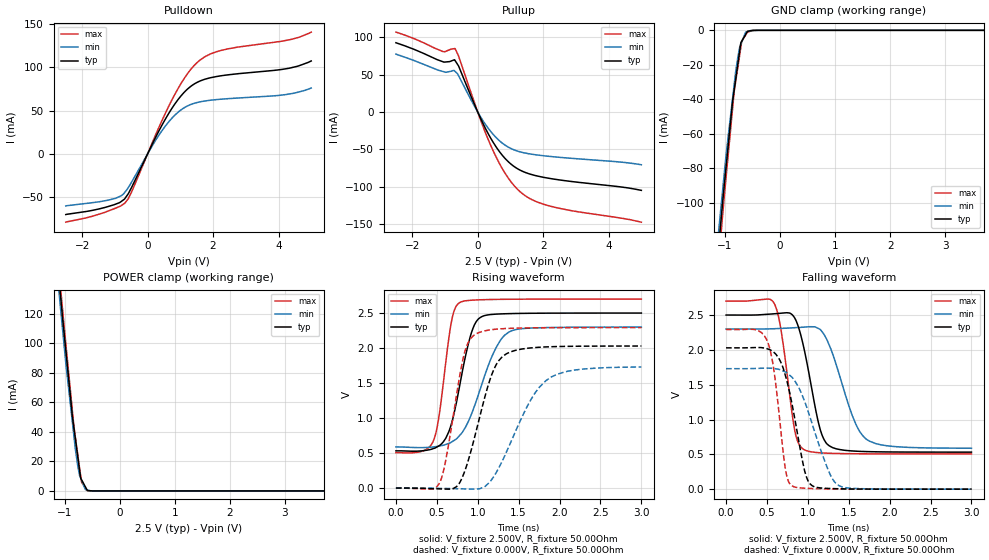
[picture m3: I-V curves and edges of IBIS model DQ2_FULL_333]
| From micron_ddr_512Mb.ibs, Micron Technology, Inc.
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|   MODEL DQ2_FULL_333
[Model]   DQ2_FULL_333
Model_type   I/O
Vinl = 0.940V
Vinh = 1.560V
Vmeas = 1.250V
Vref = 1.250V
Cref = 30.000pF
Rref = 50.000Ohm
|   typ   min   max
C_comp   3.30pF   3.15pF   3.45pF
[Model Spec]
| Input threshold voltage corners
Vinh   1.560V   1.460V   1.660V
Vinl   0.940V   0.840V   1.040V
| Measurement voltage corners
Vmeas   1.250V   1.150V   1.350V
| Timing spec test load voltage corners
Vref   1.250V   1.150V   1.350V
| Overshoot/Undershoot
S_overshoot_high   2.800V   2.600V   3.000V
S_overshoot_low   -0.300V   -0.300V   -0.300V
D_overshoot_high   4.000V   3.800V   4.200V
D_overshoot_low   -1.500V   -1.500V   -1.500V
D_overshoot_time   2.000n   2.000n   2.000n
[Receiver Thresholds]
Vth   =  1.250V
Vth_min  =  1.225V
Vth_max  =  1.275V
Vinh_ac  =  0.310V
Vinh_dc  =  0.150V
Vinl_ac  = -0.310V
Vinl_dc  = -0.150V
Tslew_ac =  10.000ns |Not specified, so set to high value
Threshold_sensitivity = 0.50
Reference_supply Pullup_ref
[Voltage Range]   2.500V   2.300V   2.700V
[Pullup Reference]   2.500V   2.300V   2.700V
| Junction Temperature (Ambient temp is 25C typ, 70C min, 0C max)
[Temperature Range]   40.0   85.0   0.0
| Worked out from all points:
|   slope of the pulldown table from 0 to 0.375 V, typ, clamps not added: 13.1 ohm
|   slope of the pullup table from 0 to 0.375 V, typ, clamps not added: 11.2 ohm
|   GND clamp passes 1 mA (typ) near -0.59 V on its own axis
|   POWER clamp passes 1 mA (typ) near -0.60 V on its own axis
|   falling waveform, V_fixture 2.500V, R_fixture 50.00Ohm: 20-80 % time 200ps typ, 290ps min, 150ps max; typ from 2.5 V to 0.532 V
|   rising waveform, V_fixture 2.500V, R_fixture 50.00Ohm: 20-80 % time 215ps typ, 328ps min, 147ps max; typ from 0.532 V to 2.5 V
|   rising waveform, V_fixture 0.000V, R_fixture 50.00Ohm: 20-80 % time 285ps typ, 433ps min, 199ps max; typ from 0 V to 2.03 V
|   falling waveform, V_fixture 0.000V, R_fixture 50.00Ohm: 20-80 % time 207ps typ, 306ps min, 138ps max; typ from 2.03 V to 0 V
[Pulldown]
|   Voltage   I(typ)   I(min)   I(max)
-2.5V     -70.06mA   -60.1mA    -78.85mA
-1.21V    -60.83mA   -53.49mA   -66.03mA
-805mV    -54.91mA   -48.27mA   -59.71mA
-695mV    -51.59mA   -44.3mA    -56.87mA
-500mV    -39.47mA   -33.24mA   -44.76mA
250mV     19.49mA    15.98mA    22.4mA
665mV     47.89mA    37.87mA    56.41mA
1.16V     72.67mA    54.16mA    89.34mA
1.615V    84.3mA     60.15mA    108.6mA
2.27V     90.27mA    63.18mA    119.6mA
4.11V     97.49mA    67.93mA    130.1mA
5V        107.2mA    75.98mA    140.6mA
[GND Clamp]
|   Voltage   I(typ)   I(min)   I(max)
-2.5V     -661.2mA   -627.1mA   -696.6mA
-1.205V   -159.1mA   -147.3mA   -170.8mA
-1.07V    -110.7mA   -102.9mA   -118.6mA
-1.035V   -98.16mA   -91.42mA   -105.7mA
-855mV    -40.39mA   -38.54mA   -44.11mA
-830mV    -34.71mA   -31.62mA   -35.65mA
-765mV    -19.96mA   -16.05mA   -21.77mA
-710mV    -7.472mA   -8.112mA   -10.08mA
-690mV    -6.165mA   -6.517mA   -6.214mA
-620mV    -2.37mA    -1.048mA   -2.615mA
-415mV    -9.562uA   -4.287uA   -6.441uA
5V        0A         0A         0A
[Pullup]
|   Voltage   I(typ)   I(min)   I(max)
-2.5V     92.94mA    77.63mA    107.2mA
-1.07V    67.53mA    54.44mA    81.18mA
-690mV    68.87mA    54.31mA    84.98mA
-585mV    61.69mA    48.61mA    74.91mA
105mV     -10.19mA   -7.775mA   -12.74mA
475mV     -40.85mA   -30.08mA   -52.33mA
675mV     -53.77mA   -38.97mA   -69.96mA
930mV     -66.44mA   -46.98mA   -88.4mA
1.375V    -79.61mA   -54.29mA   -109.8mA
1.775V    -85.33mA   -57.36mA   -119.8mA
2.36V     -90.15mA   -60.18mA   -127.8mA
5V        -105mA     -70.7mA    -147.7mA
[POWER Clamp]
|   Voltage   I(typ)   I(min)   I(max)
-2.5V     748.6mA    726.1mA    769.2mA
-1.205V   185.8mA    175.1mA    193.5mA
-1.07V    131mA      122.6mA    136.6mA
-1.035V   116.8mA    109mA      122.3mA
-975mV    94.3mA     85.72mA    98.88mA
-860mV    51.26mA    47.19mA    55.01mA
-830mV    42.66mA    37.13mA    43.56mA
-765mV    24.5mA     18.28mA    25.83mA
-710mV    9.133mA    8.87mA     10.87mA
-690mV    7.477mA    7.067mA    5.934mA
-590mV    551.3uA    607.6uA    210.5uA
5V        0A         0A         0A
[Ramp]
R_load = 50.00Ohm
|   typ   min   max
dV/dt_r   1.217V/285.346ps   1.038V/433.234ps   1.375V/199.200ps
dV/dt_f   1.181V/199.846ps   1.027V/289.804ps   1.317V/149.752ps
[Falling Waveform]
V_fixture = 2.500V
V_fixture_min = 2.300V
V_fixture_max = 2.700V
R_fixture = 50.00Ohm
|   Time   V(typ)   V(min)   V(max)
0s        2.5V       2.3V       2.7V
590ps     2.518V     2.303V     2.663V
670ps     2.526V     2.308V     2.298V
840ps     2.456V     2.318V     842.1mV
950ps     2.034V     2.326V     569.5mV
1.15ns    859.9mV    2.293V     522mV
1.26ns    623.7mV    2.071V     515.4mV
1.54ns    548.5mV    1.065V     509mV
1.72ns    539.3mV    712.9mV    507.4mV
3ns       531.5mV    587.4mV    505.6mV
[Rising Waveform]
V_fixture = 2.500V
V_fixture_min = 2.300V
V_fixture_max = 2.700V
R_fixture = 50.00Ohm
|   Time   V(typ)   V(min)   V(max)
0s        531.5mV    587.4mV    505.6mV
460ps     564.5mV    587.3mV    680.4mV
530ps     605.6mV    599.1mV    1.05V
680ps     924mV      657.2mV    2.384V
780ps     1.468V     752.9mV    2.65V
890ps     2.082V     962.8mV    2.68V
980ps     2.374V     1.236V     2.687V
1.2ns     2.483V     1.947V     2.694V
1.38ns    2.491V     2.228V     2.697V
3ns       2.5V       2.3V       2.7V
[Rising Waveform]
V_fixture = 0.000V
V_fixture_min = 0.000V
V_fixture_max = 0.000V
R_fixture = 50.00Ohm
|   Time   V(typ)   V(min)   V(max)
0s        -36.94uV   -23.44uV   -95.51uV
530ps     -11.41mV   -4.455mV   66.7mV
610ps     -14.99mV   -6.197mV   403.6mV
830ps     206.4mV    -11.97mV   1.894V
980ps     809.6mV    -14.65mV   2.203V
1.17ns    1.616V     119.8mV    2.262V
1.35ns    1.918V     512.7mV    2.279V
1.67ns    2.004V     1.303V     2.288V
1.9ns     2.019V     1.587V     2.29V
3ns       2.029V     1.73V      2.292V
[Falling Waveform]
V_fixture = 0.000V
V_fixture_min = 0.000V
V_fixture_max = 0.000V
R_fixture = 50.00Ohm
|   Time   V(typ)   V(min)   V(max)
0s        2.029V     1.73V      2.292V
500ps     2.016V     1.737V     2.136V
590ps     1.959V     1.733V     1.665V
730ps     1.613V     1.679V     258mV
800ps     1.258V     1.613V     53.16mV
940ps     372.9mV    1.322V     15mV
1.01ns    101.4mV    1.092V     10.69mV
1.24ns    10.92mV    300.7mV    3.927mV
1.38ns    5.614mV    50.93mV    1.907mV
3ns       -36.94uV   -23.44uV   -95.51uV
